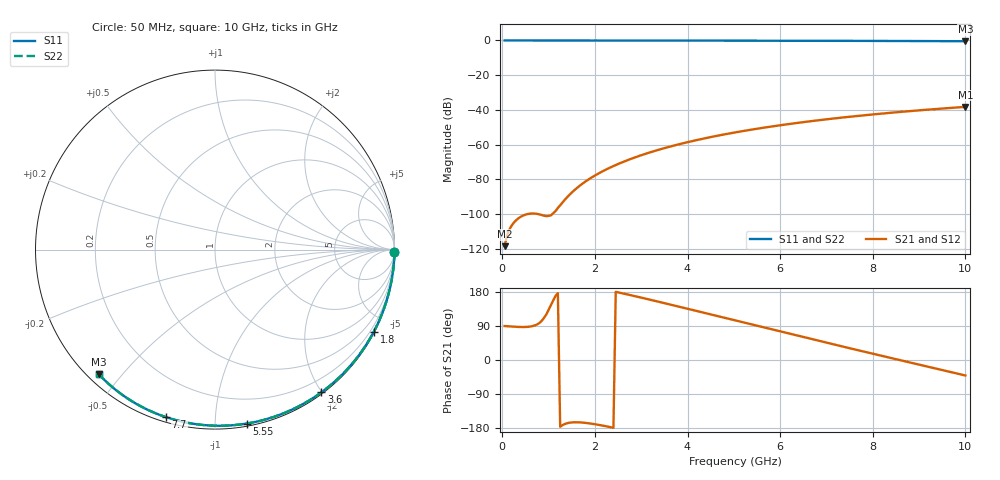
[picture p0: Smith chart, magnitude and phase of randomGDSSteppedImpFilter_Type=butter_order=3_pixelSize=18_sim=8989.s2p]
! freq	dB(S11)	phase(S11)	dB(S12)	phase(S12)
!  dB(S21)	phase(S21)	dB(S22)	phase(S22)
!S-par simulation data
#  GHz  S  DB  R 50
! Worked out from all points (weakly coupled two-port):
!   200 points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, 50 MHz to 10 GHz, reference 50 ohm
!   highest |S21| = -38.28 dB at 10 GHz (marker M1); lowest = -118.5 dB at 50 MHz (marker M2)
!   lowest |S11| = -0.4 dB at 10 GHz (marker M3), VSWR 38.68, Z = 1.54 - j21.7 ohm
!   |S11| at or under -10 dB: nowhere
!   |S22| runs from -0.4 to 0.0 dB; largest |S21 - S12| = 0
!   S11 on the Smith chart (normalised r, x): 50 MHz: open; 1.8 GHz: 0.04, -4.12; 3.6 GHz: 0.02, -1.99; 5.55 GHz: 0.02, -1.20; 7.7 GHz: 0.02, -0.75; 10 GHz: 0.03, -0.43
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0.05  -0.00 -0.8  -118.52 89.6  -118.52 89.6  -0.00 -0.8
0.9  -0.02 -13.8  -100.95 111.0  -100.95 111.0  -0.02 -13.8
1.75  -0.03 -26.5  -82.13 -165.3  -82.13 -165.3  -0.03 -26.5
1.8  -0.03 -27.3  -81.19 -166.0  -81.19 -166.0  -0.03 -27.3
1.85  -0.04 -28.0  -80.30 -166.7  -80.30 -166.7  -0.04 -28.0
1.9  -0.04 -28.8  -79.44 -167.6  -79.44 -167.6  -0.04 -28.8
2.05  -0.04 -31.0  -77.05 -170.5  -77.05 -170.5  -0.04 -31.0
2.25  -0.04 -33.9  -74.24 -175.1  -74.24 -175.1  -0.04 -33.9
2.45  -0.05 -36.9  -71.76 179.8  -71.76 179.8  -0.05 -36.9
2.65  -0.05 -39.8  -69.54 174.5  -69.54 174.5  -0.05 -39.8
3  -0.06 -44.8  -66.13 164.6  -66.13 164.6  -0.06 -44.8
3.4  -0.07 -50.5  -62.79 153.0  -62.79 153.0  -0.07 -50.5
3.6  -0.07 -53.3  -61.30 147.1  -61.30 147.1  -0.07 -53.3
4.3  -0.09 -63.0  -56.80 126.2  -56.80 126.2  -0.09 -63.0
5.05  -0.11 -73.1  -52.88 103.7  -52.88 103.7  -0.11 -73.1
5.55  -0.13 -79.6  -50.65 88.7  -50.65 88.7  -0.13 -79.6
6.1  -0.15 -86.6  -48.48 72.3  -48.48 72.3  -0.15 -86.6
6.7  -0.18 -94.1  -46.39 54.6  -46.39 54.6  -0.18 -94.1
7.7  -0.24 -106.3  -43.41 25.3  -43.41 25.3  -0.24 -106.3
8.35  -0.29 -113.9  -41.75 6.5  -41.75 6.5  -0.29 -113.9
9.15  -0.36 -123.2  -39.94 -16.5  -39.94 -16.5  -0.36 -123.2
10  -0.45 -133.0  -38.28 -40.9  -38.28 -40.9  -0.45 -133.0
